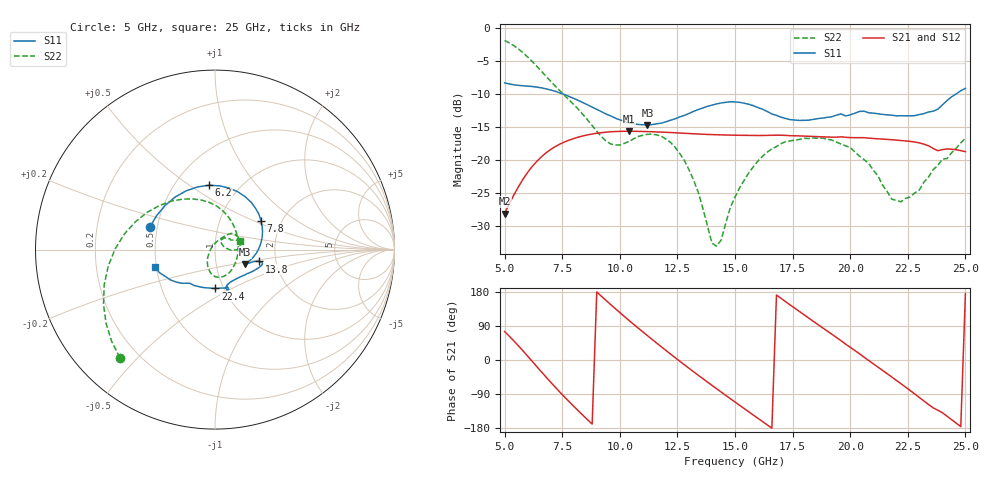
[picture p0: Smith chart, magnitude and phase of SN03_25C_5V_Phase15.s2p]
!File name = SN03_25C_5V_Phase15.s2p
!Date = 2/3/2014
!Time = 2:35 PM
!Test duration(min) = 0.07
!Test = SPars
!MPTS version = 7.120.8
!Comments =
!set_LD1(binary) = 15
!set_LD2(binary) = 524272
!test = SPars
!date_code = 20140203
!file_name = SN03_25C_5V_Phase15.s2p
!VREF(V) = 5.000
!VREF(mA) = 0.003
# GHz  S  DB  R  50
!%	Freq(GHz)  S11(dB)  S11(deg)  S21(dB)  S21(deg)  S12(dB)  S12(deg)  S22(dB)  S22(deg)
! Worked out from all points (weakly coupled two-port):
!   101 points, 5 GHz to 25 GHz, reference 50 ohm
!   highest |S21| = -15.62 dB at 10.4 GHz (marker M1); lowest = -28.0 dB at 5 GHz (marker M2)
!   lowest |S11| = -14.7 dB at 11.2 GHz (marker M3), VSWR 1.45, Z = 68.8 - j11.6 ohm
!   |S11| at or under -10 dB: 7.536 GHz to 24.59 GHz (17.06 GHz wide, 106 % of centre)
!   |S22| runs from -33.0 to -1.9 dB; largest |S21 - S12| = 0.00053
!   S11 on the Smith chart (normalised r, x): 5 GHz: 0.46, +0.14; 6.2 GHz: 0.73, +0.60; 7.8 GHz: 1.57, +0.56; 13.8 GHz: 1.63, -0.23; 22.4 GHz: 0.91, -0.41; 25 GHz: 0.49, -0.11
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5  -8.32 160.7  -28.05 75.2  -28.06 75.2  -1.92 -131.4
5.6  -8.70 127.2  -24.01 37.4  -24.03 37.4  -3.21 -153.9
6.2  -8.87 95.5  -20.94 -3.7  -20.95 -3.7  -5.10 179.5
7  -9.39 60.1  -18.38 -58.6  -18.40 -58.5  -8.08 141.5
7.8  -10.39 32.2  -16.97 -109.9  -16.99 -109.8  -10.91 104.9
8.4  -11.30 15.0  -16.33 -146.0  -16.35 -145.9  -13.10 79.1
9.6  -13.30 -11.9  -15.71 146.5  -15.73 146.6  -17.55 10.2
10.4  -14.37 -22.3  -15.62 104.4  -15.64 104.5  -17.17 -39.6
11.2  -14.66 -26.0  -15.68 64.3  -15.69 64.3  -16.09 -71.7
11.8  -14.41 -24.6  -15.76 35.0  -15.77 35.0  -16.38 -88.8
12.8  -13.23 -18.4  -15.93 -12.5  -15.94 -12.5  -20.04 -114.0
13.4  -12.36 -15.7  -16.04 -40.0  -16.05 -40.0  -24.78 -133.9
13.8  -11.87 -15.0  -16.11 -58.0  -16.11 -58.0  -29.84 -159.9
14.2  -11.50 -15.1  -16.15 -75.7  -16.16 -75.8  -32.98 140.6
15  -11.21 -17.5  -16.22 -110.8  -16.23 -110.8  -25.56 71.2
16.4  -12.65 -33.3  -16.25 -171.3  -16.27 -171.3  -18.78 48.2
18.4  -13.83 -67.7  -16.41 102.0  -16.43 102.1  -16.63 22.8
20  -13.16 -71.6  -16.58 33.6  -16.59 33.6  -18.06 0.1
21.8  -13.20 -78.7  -16.91 -44.7  -16.92 -44.7  -25.86 20.9
22.4  -13.30 -89.5  -17.09 -71.3  -17.10 -71.3  -25.77 47.3
23.8  -12.30 -129.6  -18.56 -132.4  -18.58 -132.3  -20.80 42.9
25  -9.15 -163.6  -18.70 175.0  -18.72 175.0  -16.68 18.9
